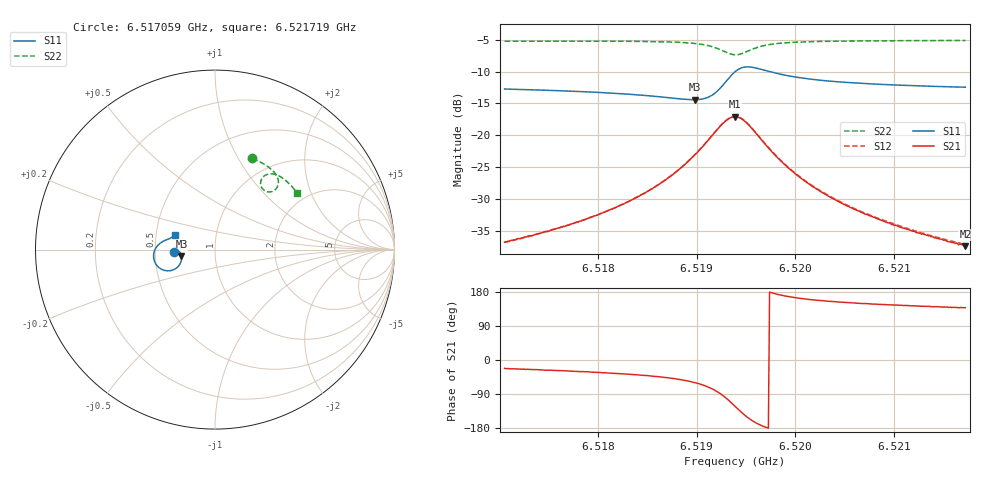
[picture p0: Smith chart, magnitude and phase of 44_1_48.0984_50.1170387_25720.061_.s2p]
#  HZ  S  RI  R  50.00
! Rohde & Schwarz Vector Network Analyzer
! Rohde-Schwarz,ZNB20-2Port,1311601062101988,3.16
! Created: UTC 12/23/2023, 3:39:05 AM
! freq[Hz]  re:S11  im:S11  re:S21  im:S21  re:S12  im:S12  re:S22  im:S22
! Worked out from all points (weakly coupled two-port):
!   401 points, 6.517059 GHz to 6.521719 GHz, reference 50 ohm
!   highest |S21| = -17.10 dB at 6.519389 GHz (marker M1); lowest = -37.5 dB at 6.521719 GHz (marker M2)
!   lowest |S11| = -14.4 dB at 6.518981 GHz (marker M3), VSWR 1.47, Z = 34.2 - j2.58 ohm
!   |S11| at or under -10 dB: start of sweep to 6.519391 GHz; 6.519741 GHz to end of sweep
!   |S22| runs from -7.3 to -5.1 dB; largest |S21 - S12| = 0.0042
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6.5170593e9  -0.2303 -0.016  0.0134 -0.00539  0.0134 -0.00508  0.2079 0.5077
6.517502e9  -0.2251 -0.00964  0.0156 -0.00799  0.016 -0.00745  0.2408 0.4934
6.5178398e9  -0.2201 -0.00595  0.0184 -0.0109  0.0186 -0.0103  0.2656 0.4804
6.5182824e9  -0.2109 -0.00431  0.0234 -0.0176  0.024 -0.017  0.299 0.4588
6.5186202e9  -0.2006 -0.00922  0.0294 -0.0286  0.0305 -0.0278  0.3252 0.436
6.5188183e9  -0.1926 -0.0189  0.0336 -0.0415  0.035 -0.0404  0.3406 0.4165
6.5189814e9  -0.1867 -0.0364  0.0354 -0.0601  0.0374 -0.0593  0.351 0.3931
6.5190862e9  -0.1867 -0.0562  0.032 -0.0793  0.0347 -0.0789  0.3532 0.3718
6.5191677e9  -0.1938 -0.0781  0.0222 -0.0992  0.0252 -0.099  0.348 0.3513
6.5192959e9  -0.2373 -0.1144  -0.0221 -0.1278  -0.0186 -0.1293  0.3143 0.3226
6.5193425e9  -0.2654 -0.1182  -0.048 -0.1283  -0.0447 -0.1305  0.2936 0.3219
6.5193891e9  -0.2955 -0.1105  -0.0743 -0.1183  -0.0715 -0.1215  0.2736 0.3305
6.5194357e9  -0.3208 -0.0919  -0.0947 -0.0991  -0.0926 -0.1026  0.2592 0.3467
6.5194939e9  -0.3387 -0.0601  -0.107 -0.0695  -0.1058 -0.0732  0.2538 0.3714
6.5195871e9  -0.3392 -0.0137  -0.1026 -0.0297  -0.1024 -0.0329  0.2658 0.4022
6.5196919e9  -0.3233 0.0182  -0.0851 -0.00503  -0.0858 -0.0073  0.2888 0.4182
6.5199249e9  -0.2901 0.0456  -0.0541 0.012  -0.0553 0.0105  0.3304 0.4204
6.5201695e9  -0.2694 0.055  -0.037 0.0143  -0.038 0.0134  0.3593 0.409
6.5205423e9  -0.2518 0.062  -0.024 0.0132  -0.0247 0.0127  0.3903 0.3879
6.52095e9  -0.2401 0.068  -0.0169 0.0115  -0.0173 0.0111  0.4168 0.3638
6.5212529e9  -0.2334 0.0721  -0.0134 0.0104  -0.014 0.0102  0.4338 0.3455
6.5217188e9  -0.2252 0.0787  -0.00998 0.00894  -0.0104 0.00893  0.4573 0.3165
